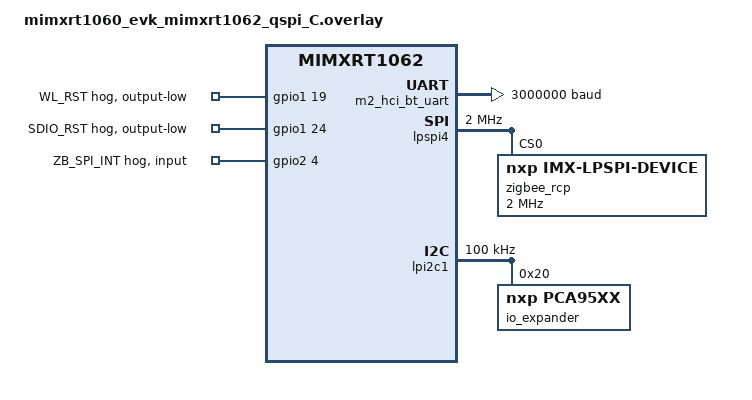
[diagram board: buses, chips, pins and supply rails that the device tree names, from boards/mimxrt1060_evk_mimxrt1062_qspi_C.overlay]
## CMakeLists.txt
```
#Copyright 2023 - 2024 NXP
#SPDX - License - Identifier : Apache - 2.0

cmake_minimum_required(VERSION 3.20.0)

find_package(Zephyr REQUIRED HINTS $ENV{ZEPHYR_BASE})
project(nxp_mfg_bridge)

zephyr_include_directories_ifdef(CONFIG_NXP_RW610
  ${ZEPHYR_HAL_NXP_MODULE_DIR}/mcux/mcux-sdk-ng/components/imu_adapter
  ${ZEPHYR_HAL_NXP_MODULE_DIR}/mcux/mcux-sdk-ng/components/conn_fwloader/include
  )

set(CONFIG_MCUX_COMPONENT_component.osa_zephyr ON)

FILE(GLOB app_sources src/*.c)
target_sources(app PRIVATE ${app_sources})
```

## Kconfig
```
# Copyright 2022-2024 NXP
# SPDX-License-Identifier: Apache-2.0

config NXP_UART_WIFI_BRIDGE
	bool "Support UART_WIFI_BRIDGE"
	default y

config NXP_MONOLITHIC_WIFI
	bool "Support WIFI monolithic"

config SUPPORT_IEEE802154
	bool "Support IEEE 802154"
	imply NXP_MONOLITHIC_NBU

config SUPPORT_BLE
	bool "Support bluetooth low energy"
	default y
	imply NXP_MONOLITHIC_NBU

config SUPPORT_WIFI
	bool "Support WiFi"
	default y
	imply NXP_MONOLITHIC_WIFI

config NXP_COMBO_FW_LOAD
	bool "Support FW load for both Wi-Fi + BT"
	default n

config BT_UART_BAUDRATE
	int "BT UART Baudrate"
	default 115200

config SUPPORT_BT_UART
	bool "Support BT UART Interface"
	default n
	select NXP_COMBO_FW_LOAD

config IMX_USDHC_DAT3_DETECT_RETRY
	default 10

source "Kconfig.zephyr"
```

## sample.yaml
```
sample:
  name: nxp manufacture bridge
common:
  tags: wifi
tests:
  sample.boards.rd_rw612_bga.nxp_mfg_bridge:
    build_only: true
    extra_args: EXTRA_CONF_FILE="overlay_RW612.conf"
    platform_allow:
      - rd_rw612_bga
      - frdm_rw612
    integration_platforms:
      - rd_rw612_bga
```

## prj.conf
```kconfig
# Wi-Fi
CONFIG_NXP_WIFI_AUTO_INIT=n

# Boot
CONFIG_BOOT_BANNER=n

# os
CONFIG_EVENTS=y
CONFIG_SYS_HEAP_AUTO=y
CONFIG_SYS_HEAP_ALLOC_LOOPS=12
CONFIG_HEAP_MEM_POOL_SIZE=122880

# thread
CONFIG_THREAD_NAME=y
CONFIG_THREAD_CUSTOM_DATA=y
CONFIG_THREAD_MONITOR=y

CONFIG_MAIN_STACK_SIZE=4096
CONFIG_MAIN_THREAD_PRIORITY=5

# C library
CONFIG_NEWLIB_LIBC=y

# uart
CONFIG_UART_INTERRUPT_DRIVEN=y
CONFIG_UART_USE_RUNTIME_CONFIGURE=y

# optimization level
CONFIG_NO_OPTIMIZATIONS=y

# log & debug
# CONFIG_DEBUG=y
# CONFIG_DEBUG_INFO=y
# CONFIG_DEBUG_THREAD_INFO=y

# Default: Wi-Fi + BLE
CONFIG_SUPPORT_WIFI=y
CONFIG_SUPPORT_BLE=y
CONFIG_SUPPORT_IEEE802154=y

# SPI support
CONFIG_SPI=y
CONFIG_SPI_NXP_LPSPI=y

# I2C support
CONFIG_I2C=y
CONFIG_I2C_MCUX_LPI2C=y

CONFIG_GPIO=y
CONFIG_GPIO_HOGS=y
```

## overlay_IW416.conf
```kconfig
#SoC
CONFIG_NXP_IW416=y
CONFIG_NXP_IW416_MURATA_1XK_M2=y

#additional conf
CONFIG_NETWORKING=y
CONFIG_WIFI_NXP=y
CONFIG_WIFI=y
CONFIG_NET_DHCPV4=y
CONFIG_NET_IPV4=y
CONFIG_NET_MGMT_EVENT_STACK_SIZE=2048

# BT UART conf
CONFIG_SUPPORT_BT_UART=y
CONFIG_BT_UART_BAUDRATE=115200
```

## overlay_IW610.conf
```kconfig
#SoC
CONFIG_NXP_IW610=y
CONFIG_NXP_IW610_MURATA_2LL_M2=y

#additional conf
CONFIG_NETWORKING=y
CONFIG_WIFI_NXP=y
CONFIG_WIFI=y
CONFIG_NET_DHCPV4=y
CONFIG_NET_IPV4=y
CONFIG_NET_MGMT_EVENT_STACK_SIZE=2048

# BT UART conf
CONFIG_SUPPORT_BT_UART=y
CONFIG_BT_UART_BAUDRATE=3000000
```

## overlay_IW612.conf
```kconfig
#SoC
CONFIG_NXP_IW61X=y
CONFIG_NXP_IW612_MURATA_2EL_M2=y

#additional conf
CONFIG_NETWORKING=y
CONFIG_WIFI_NXP=y
CONFIG_WIFI=y
CONFIG_NET_DHCPV4=y
CONFIG_NET_IPV4=y
CONFIG_NET_MGMT_EVENT_STACK_SIZE=2048

# BT UART conf
CONFIG_SUPPORT_BT_UART=y
CONFIG_BT_UART_BAUDRATE=3000000
```

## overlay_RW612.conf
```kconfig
#UART
CONFIG_UART_MCUX_FLEXCOMM=y

# IMU & FW loader
CONFIG_NXP_RF_IMU=y
CONFIG_NXP_FW_LOADER=y

# Monolithic (default: Wi-Fi + BLE)
CONFIG_NXP_MONOLITHIC_WIFI=n
CONFIG_NXP_MONOLITHIC_NBU=n
```

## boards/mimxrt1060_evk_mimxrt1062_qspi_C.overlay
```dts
/*
 * Copyright 2025 NXP
 *
 * SPDX-License-Identifier: Apache-2.0
 */

&m2_hci_bt_uart {
	/delete-property/ pinctrl-0;
	/delete-property/ pinctrl-1;
	/delete-property/ pinctrl-2;
	/delete-property/ pinctrl-names;
	pinctrl-0 = <&pinmux_lpuart3_flow_control>;
	pinctrl-1 = <&pinmux_lpuart3_sleep>;
	pinctrl-names = "default", "sleep";
	current-speed = <3000000>;
	status = "okay";
};

&gpio1 {
	status = "okay";

	wl-rst-hog {
		/* Mark this node as GPIO hog for automatic initialization */
		gpio-hog;
		/* Specify GPIO1_IO19, active-high polarity */
		gpios = <19 GPIO_ACTIVE_HIGH>;
		/* Set as OUTPUT mode with initial LOW state (reset asserted) */
		output-low;
		/* Human-readable name for debug/documentation purposes */
		line-name = "WL_RST";
	};

	sdio-rst-hog {
		gpio-hog;
		gpios = <24 GPIO_ACTIVE_HIGH>;
		output-low;
		line-name = "SDIO_RST";
	};
};
&gpio2 {
	status = "okay";

	zb-spi-int-hog {
		gpio-hog;
		gpios = <4 GPIO_ACTIVE_HIGH>;
		input;
		line-name = "ZB_SPI_INT";
	};
};

/* LPSPI4 ZigBee RCP */
&lpspi4 {
	status = "okay";
	pinctrl-0 = <&pinmux_lpspi4>;
	pinctrl-names = "default";

	clock-frequency = <2000000>;
	/* Delay in nanoseconds from the chip select assert to the first clock edge */
	pcs-sck-delay = <147>;
	/* Delay in nanoseconds from the last clock edge to the chip select deassert */
	sck-pcs-delay = <147>;
	/* Delay in nanoseconds between last SCK edge of a transfer word and the first SCK edge of the next transfer word */
	transfer-delay = <147>;

	zigbee_rcp: spi-device@0 {
		compatible = "nxp,imx-lpspi-device";
		reg = <0>;  /* Chip Select 0 */
		spi-max-frequency = <2000000>;
	};
};

&lpi2c1 {
	status = "okay";
	pinctrl-0 = <&pinmux_lpi2c1>;
	pinctrl-names = "default";
	clock-frequency = <100000>;

	io_expander: pca9534@20 {
		compatible = "nxp,pca95xx";
		reg = <0x20>;
		gpio-controller;
		#gpio-cells = <2>;
	};
};

&pinctrl {
	pinmux_lpspi4: pinmux_lpspi4 {
		group0 {
			pinmux =
				<&iomuxc_gpio_b0_00_lpspi4_pcs0>,   // GPIO_B0_00 → LPSPI4_PCS0
				<&iomuxc_gpio_b0_01_lpspi4_sdi>,   // GPIO_B0_01 → LPSPI4_SDI
				<&iomuxc_gpio_b0_02_lpspi4_sdo>,   // GPIO_B0_02 → LPSPI4_SDO
				<&iomuxc_gpio_b0_03_lpspi4_sck>;   // GPIO_B0_03 → LPSPI4_SCK
			/* Enable pull-up resistor (PUE=1) */
			bias-pull-up;
			/* Pull-up resistor: 100kΩ (PUS=10) */
			bias-pull-up-value = "100k";
			/* Drive strength: 32Ω@3.3V, 43Ω@1.8V (DSE=110) */
			drive-strength = "r0-6";
			/* Slew rate: slow (SRE=0) */
			slew-rate = "slow";
			/* Pin speed: medium, up to 100MHz (SPEED=01) */
			nxp,speed = "100-mhz";
		};
	};

	pinmux_lpi2c1: pinmux_lpi2c1 {
		group0 {
			pinmux =
				<&iomuxc_gpio_ad_b1_00_lpi2c1_scl>,
				<&iomuxc_gpio_ad_b1_01_lpi2c1_sda>;
			bias-pull-up;
			bias-pull-up-value = "100k";
			drive-strength = "r0-6";
			slew-rate = "slow";
			nxp,speed = "100-mhz";
		};
	};

	pinmux_wifi_sdio_rst: pinmux_wifi_sdio_rst {
		group0 {
			pinmux = <&iomuxc_gpio_ad_b1_03_gpio1_io19>,
					 <&iomuxc_gpio_ad_b1_08_gpio1_io24>;
			bias-pull-up;
			bias-pull-up-value = "100k";
			drive-strength = "r0-6";
			slew-rate = "slow";
			nxp,speed = "100-mhz";
		};
	};

	pinmux_spi_int: pinmux_spi_int {
		group0 {
			pinmux = <&iomuxc_gpio_b0_04_gpio2_io04>;
			bias-pull-up;
			bias-pull-up-value = "100k";
			drive-strength = "r0-6";
			slew-rate = "slow";
			input-enable;
			nxp,speed = "100-mhz";
		};
	};

	pinmux_usdhc1: pinmux_usdhc1 {
		group0 {
			pinmux =
				<&iomuxc_gpio_b1_14_usdhc1_vselect>,
				<&iomuxc_gpio_sd_b0_00_usdhc1_cmd>,
				<&iomuxc_gpio_sd_b0_02_usdhc1_data0>,
				<&iomuxc_gpio_sd_b0_03_usdhc1_data1>,
				<&iomuxc_gpio_sd_b0_04_usdhc1_data2>,
				<&iomuxc_gpio_sd_b0_05_usdhc1_data3>;
			bias-pull-up;
			bias-pull-up-value = "47k";
			drive-strength = "r0-6";
			slew-rate = "slow";
			nxp,speed = "200-mhz";
		};

		group1 {
			pinmux = <&iomuxc_gpio_sd_b0_01_usdhc1_clk>;
			drive-strength = "r0-6";
			slew-rate = "fast";
			nxp,speed = "200-mhz";
		};
	};

	pinmux_usdhc1_dat3_nopull: pinmux_usdhc1_dat3_nopull {
		group0 {
			pinmux = <&iomuxc_gpio_sd_b0_01_usdhc1_clk>;
			bias-disable;
			drive-strength = "r0";
			input-schmitt-enable;
			slew-rate = "fast";
			nxp,speed = "100-mhz";
		};
		group1 {
			pinmux = <&iomuxc_gpio_b1_12_gpio2_io28>,
				<&iomuxc_gpio_sd_b0_00_usdhc1_cmd>,
				<&iomuxc_gpio_sd_b0_02_usdhc1_data0>,
				<&iomuxc_gpio_sd_b0_03_usdhc1_data1>,
				<&iomuxc_gpio_sd_b0_04_usdhc1_data2>;
			drive-strength = "r0";
			input-schmitt-enable;
			bias-pull-up;
			bias-pull-up-value = "47k";
			slew-rate = "fast";
			nxp,speed = "100-mhz";
		};
		group2 {
			pinmux = <&iomuxc_gpio_sd_b0_05_usdhc1_data3>;
			drive-strength = "r0";
			input-schmitt-enable;
			bias-disable;
			slew-rate = "fast";
			nxp,speed = "100-mhz";
		};
	};
};
```

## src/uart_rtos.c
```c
/**
 *  Copyright 2023-2024 NXP
 *
 *  SPDX-License-Identifier: Apache-2.0
 *
 *  @file  usart.c
 *  @brief This file provides uart API
 */

#include <zephyr/logging/log.h>
LOG_MODULE_DECLARE(mfg_bridge);

#include "uart_rtos.h"

#if defined(RW610_SERIES) || defined(RW612_SERIES)
const struct device *uart_rtos_dev = DEVICE_DT_GET(DT_NODELABEL(flexcomm3));
#else
const struct device *uart_rtos_dev = DEVICE_DT_GET(DT_NODELABEL(lpuart1));
#endif

struct uart_config uart_rtos_cfg = {
	.baudrate = 115200,
	.parity = UART_CFG_PARITY_NONE,
	.stop_bits = UART_CFG_STOP_BITS_1,
	.data_bits = UART_CFG_DATA_BITS_8,
	.flow_ctrl = UART_CFG_FLOW_CTRL_NONE,
};

static void uart_rtos_cb(const struct device *dev, void *user_data);

int uart_rtos_init(struct uart_rtos_state *handle)
{
	int ret = 0;

	if (handle == NULL) {
		return -1;
	}

	/* check uart device */
	if (!device_is_ready(uart_rtos_dev)) {
		LOG_ERR("UART device not found!");
		return -1;
	}

	if (uart_configure(uart_rtos_dev, &uart_rtos_cfg) != 0) {
		LOG_ERR("UART config error!");
		return -1;
	}

	(void)memset(handle, 0, sizeof(struct uart_rtos_state));
	handle->dev = uart_rtos_dev;
	handle->rx.bufferSize = BUFFER_SIZE;
	handle->tx.bufferSize = BUFFER_SIZE;
	k_sem_init(&handle->rx.sem, 0, K_SEM_MAX_LIMIT);
	k_sem_init(&handle->tx.sem, BUFFER_SIZE - 1, K_SEM_MAX_LIMIT);

	/* configure interrupt and callback to receive data */
	ret = uart_irq_callback_user_data_set(uart_rtos_dev, uart_rtos_cb, handle);
	if (ret < 0) {
		if (ret == -ENOTSUP) {
			LOG_ERR("Interrupt-driven UART API support not enabled");
		} else if (ret == -ENOSYS) {
			LOG_ERR("UART device does not support interrupt-driven API");
		} else {
			LOG_ERR("Error setting UART callback: %d", ret);
		}
		return -1;
	}

	uart_irq_rx_enable(uart_rtos_dev);

	return 0;
}

static void uart_rtos_cb(const struct device *dev, void *user_data)
{
	uint8_t rxdata;
	uint8_t rx_index;
	struct uart_rtos_state *handle = (struct uart_rtos_state *)user_data;

	if (dev == NULL) {
		return;
	}

	if (!uart_irq_update(dev)) {
		return;
	}

	/* Receive */
	if (uart_irq_rx_ready(dev)) {
		if (uart_fifo_read(dev, &rxdata, 1)) {
			rx_index = handle->rx.bufferHead + 1;
			if (rx_index >= handle->rx.bufferSize) {
				rx_index = 0;
			}

			if (rx_index == handle->rx.bufferTail) {
				goto send;
			}

			handle->rx.buffer[handle->rx.bufferHead] = rxdata;
			handle->rx.bufferHead = rx_index;
			k_sem_give(&handle->rx.sem);
		}
	}

send:
	/* Send */
	if (uart_irq_tx_ready(dev)) {
		if (handle->tx.bufferHead == handle->tx.bufferTail) {
			uart_irq_tx_disable(dev);
		} else {
			uart_fifo_fill(dev, &handle->tx.buffer[handle->tx.bufferTail++], 1);
			if (handle->tx.bufferTail >= handle->tx.bufferSize) {
				handle->tx.bufferTail = 0;
			}
			k_sem_give(&handle->tx.sem);
		}
	}
}

static uint8_t uart_rtos_transfer_recv(struct uart_rtos_state *handle)
{
	unsigned int irq_key = 0;
	uint8_t data = 0;

	k_sem_take(&handle->rx.sem, K_FOREVER);

	/* Disable IRQ, protect ring buffer. */
	irq_key = irq_lock();

	data = handle->rx.buffer[handle->rx.bufferTail++];

	if (handle->rx.bufferTail >= handle->rx.bufferSize) {
		handle->rx.bufferTail = 0U;
	}

	irq_unlock(irq_key);

	return data;
}

int uart_rtos_recv(struct uart_rtos_state *handle, void *buf, uint32_t length, size_t *received)
{
	size_t n = 0;
	uint8_t *data = buf;

	if (handle == NULL || buf == NULL) {
		return -1;
	}

	if (length == 0) {
		if (received != NULL) {
			*received = n;
		}
		return 0;
	}

	while (length) {
		*data++ = uart_rtos_transfer_recv(handle);
		++n;
		--length;
	}

	/* Prevent repetitive NULL check */
	if (received != NULL) {
		*received = n;
	}

	return 0;
}

static int uart_rtos_transfer_send(struct uart_rtos_state *handle, uint8_t data)
{
	unsigned int irq_key = 0;
	uint16_t tx_index = 0;

	k_sem_take(&handle->tx.sem, K_FOREVER);

	/* Disable IRQ, protect ring buffer. */
	irq_key = irq_lock();

	tx_index = handle->tx.bufferHead + 1;

	if (tx_index >= handle->tx.bufferSize) {
		tx_index = 0;
	}

	if (tx_index == handle->tx.bufferTail) {
		irq_unlock(irq_key);
		return -1;
	}

	handle->tx.buffer[handle->tx.bufferHead] = data;
	handle->tx.bufferHead = tx_index;

	irq_unlock(irq_key);
	uart_irq_tx_enable(uart_rtos_dev);

	return 0;
}

int uart_rtos_send(struct uart_rtos_state *handle, void *buf, uint32_t length)
{
	uint8_t *data = buf;

	if (handle == NULL || buf == NULL) {
		return -1;
	}

	if (length == 0) {
		return 0;
	}

	while (length) {
		uart_rtos_transfer_send(handle, *data++);
		--length;
	}

	return 0;
}
```

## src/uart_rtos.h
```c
/**
 *  Copyright 2023-2024 NXP
 *
 *  SPDX-License-Identifier: Apache-2.0
 *
 */
#include <zephyr/kernel.h>
#include <zephyr/device.h>
#include <zephyr/drivers/uart.h>
#include <string.h>

#define BUFFER_SIZE 32

#ifdef CONFIG_SUPPORT_BT_UART
#define BT_UART_BUFFER_SIZE 32
#endif
/* uart RX/TX state structure */
struct uart_rtos_recv_state {
	uint8_t buffer[BUFFER_SIZE];
	uint16_t bufferSize;
	uint16_t bufferHead;
	uint16_t bufferTail;
	struct k_sem sem;
};

/* uart state structure */
struct uart_rtos_state {
	const struct device *dev;
	struct uart_rtos_recv_state rx;
	struct uart_rtos_recv_state tx;
};

int uart_rtos_init(struct uart_rtos_state *uart_handle);
int uart_rtos_recv(struct uart_rtos_state *handle, void *buf, uint32_t length, size_t *received);
int uart_rtos_send(struct uart_rtos_state *handle, void *buf, uint32_t length);

#ifdef CONFIG_SUPPORT_BT_UART
int bt_uart_rtos_init(struct uart_rtos_state *uart_handle);
#endif /*CONFIG_SUPPORT_BT_UART*/
```
